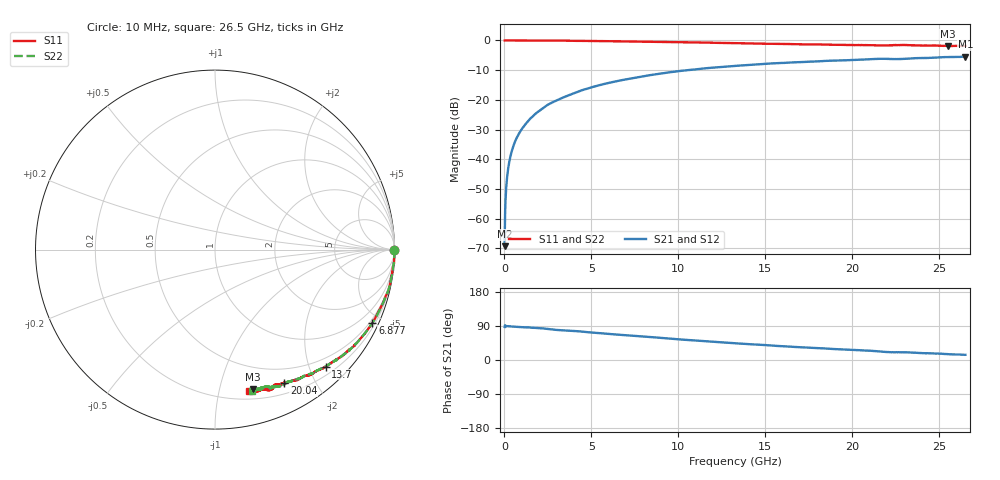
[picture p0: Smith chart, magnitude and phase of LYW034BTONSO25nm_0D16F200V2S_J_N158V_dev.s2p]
!Keysight Technologies,N5222B,MY61253708,A.15.00.15
!Date: Wednesday, June 19, 2024 10:16:00
!Correction: S11(C  2-Port  )
!S21(C  2-Port  )
!S12(C  2-Port  )
!S22(C  2-Port  )
!S2P File: Measurements: S11, S21, S12, S22:
# Hz S  RI  R 50
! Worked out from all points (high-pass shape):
!   2651 points, 10 MHz to 26.5 GHz, reference 50 ohm
!   highest |S21| = -5.42 dB at 26.5 GHz (marker M1); lowest = -69.2 dB at 10 MHz (marker M2)
!   |S21| within 3 dB of the highest: 13.58 GHz to end of sweep
!   lowest |S11| = -1.9 dB at 25.5 GHz (marker M3), VSWR 9.23, Z = 14.4 - j63.3 ohm
!   |S11| at or under -10 dB: nowhere
!   |S22| runs from -1.8 to 0.0 dB; largest |S21 - S12| = 0.0059
!   S11 on the Smith chart (normalised r, x): 10 MHz: open; 6.877 GHz: 0.36, -4.50; 13.7 GHz: 0.34, -2.28; 20.04 GHz: 0.32, -1.60; 26.5 GHz: 0.26, -1.24
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1e7  0.9987 -0.00322  1.68e-05 0.000345  -0.000327 0.000328  0.9984 -0.00163
7.997358e7  0.9999 -0.00563  2.51e-05 0.00259  2.22e-05 0.00265  0.9994 -0.00525
1.599434e8  1 -0.0111  6.93e-05 0.0052  5.41e-05 0.00524  0.9997 -0.0105
2.099245e8  0.9998 -0.0139  9.72e-05 0.00684  9.3e-05 0.00686  0.9995 -0.0134
2.699019e8  0.9997 -0.0181  0.00016 0.00884  0.000173 0.00882  1 -0.0174
3.698642e8  0.9999 -0.0251  0.000296 0.012  0.00028 0.0121  0.9995 -0.0243
4.998151e8  0.9988 -0.0332  0.000522 0.0163  0.00055 0.0163  0.9991 -0.0322
6.597547e8  0.9985 -0.043  0.000899 0.0214  0.000839 0.0215  0.9987 -0.0423
8.49683e8  0.9982 -0.0556  0.00145 0.0275  0.0015 0.0276  0.998 -0.0554
1.459453e9  0.9911 -0.0966  0.00349 0.0476  0.00349 0.0476  0.9935 -0.093
2.339121e9  0.9825 -0.1502  0.0097 0.077  0.00989 0.0772  0.9836 -0.1504
3.228785e9  0.9716 -0.2063  0.0206 0.103  0.0208 0.1034  0.9727 -0.2039
4.428332e9  0.9444 -0.2771  0.0372 0.1396  0.0375 0.1401  0.946 -0.2745
6.877408e9  0.8771 -0.4071  0.0899 0.1991  0.0909 0.1994  0.8785 -0.4069
8.846664e9  0.8085 -0.4977  0.1416 0.2346  0.1426 0.2348  0.8098 -0.4966
1.3255e10  0.6354 -0.6391  0.2673 0.2604  0.2688 0.2597  0.6385 -0.6381
1.370483e10  0.6175 -0.6513  0.2791 0.26  0.2811 0.2589  0.6203 -0.6504
1.767333e10  0.4652 -0.7211  0.3735 0.2345  0.376 0.2325  0.4743 -0.7187
2.004244e10  0.387 -0.7442  0.42 0.2111  0.4217 0.2076  0.3991 -0.7433
2.209166e10  0.33 -0.7564  0.4569 0.1739  0.4579 0.1708  0.3224 -0.7621
2.550038e10  0.2106 -0.7764  0.5068 0.1384  0.5076 0.1376  0.2299 -0.7781
2.65e10  0.1909 -0.7904  0.5204 0.127  0.5193 0.1231  0.2034 -0.7881
